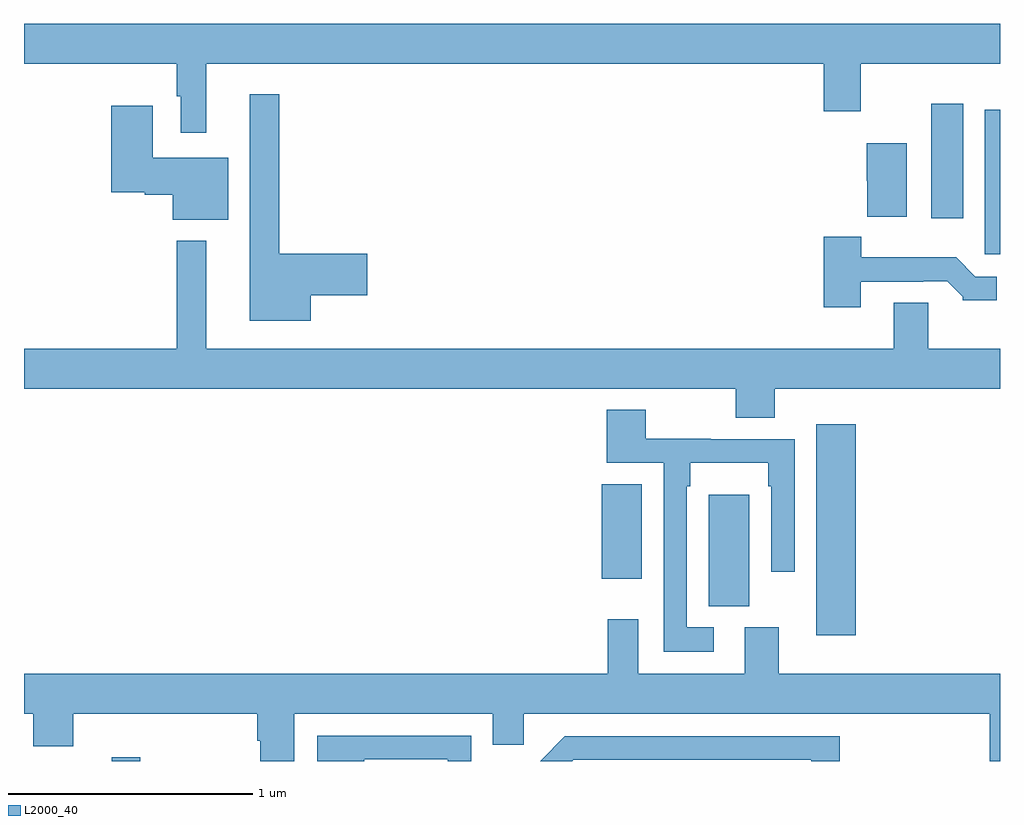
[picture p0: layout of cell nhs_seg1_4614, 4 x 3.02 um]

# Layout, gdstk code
import gdstk
lib = gdstk.Library(unit=1e-6, precision=1e-09)
def R(c, l, rs):  # rectangles x0, y0, x1, y1
    for r in rs: c.add(gdstk.rectangle(r[:2], r[2:], *l))
def P(c, l, *ps):  # polygons
    for p in ps: c.add(gdstk.Polygon(p, *l))
L2000_40 = (2000, 40)

nhs_seg1_4614 = lib.new_cell('nhs_seg1_4614')
R(nhs_seg1_4614, L2000_40, [(361.359,558.199,361.477,558.214), (364.247,558.714,364.409,559.579), (363.806,558.833,363.973,559.291), (363.368,558.947,363.532,559.333), (364.937,560.277,365,560.869), (364.718,560.424,364.849,560.893)])
P(nhs_seg1_4614, L2000_40, [(361.747,561.056),(364.277,561.056),(364.277,560.862),(364.429,560.862),(364.429,561.056),(365,561.056),(365,561.22),(361,561.22),(361,561.056),(361.626,561.056),(361.626,560.924),(361.643,560.924),(361.643,560.775),(361.747,560.775)],
  [(362.176,560.108),(362.407,560.108),(362.407,560.279),(362.047,560.279),(362.047,560.932),(361.925,560.932),(361.925,560.003),(362.176,560.003)],
  [(361.837,560.671),(361.528,560.671),(361.528,560.884),(361.358,560.884),(361.358,560.531),(361.494,560.531),(361.494,560.519),(361.61,560.519),(361.61,560.417),(361.837,560.417)],
  [(364.618,560.731),(364.454,560.731),(364.454,560.577),(364.456,560.577),(364.456,560.429),(364.618,560.429)],
  [(364.429,560.163),(364.685,560.163),(364.685,560.166),(364.784,560.166),(364.848,560.102),(364.848,560.087),(364.987,560.087),(364.987,560.184),(364.899,560.184),(364.821,560.263),(364.432,560.263),(364.432,560.347),(364.277,560.347),(364.277,560.058),(364.429,560.058)],
  [(364.076,559.724),(365,559.724),(365,559.888),(364.705,559.888),(364.705,560.078),(364.565,560.078),(364.565,559.888),(361.747,559.888),(361.747,560.332),(361.626,560.332),(361.626,559.888),(361,559.888),(361,559.724),(363.916,559.724),(363.916,559.607),(364.076,559.607)],
  [(363.826,558.748),(363.717,558.748),(363.717,559.325),(363.73,559.325),(363.73,559.421),(364.05,559.421),(364.05,559.325),(364.062,559.325),(364.062,558.975),(364.158,558.975),(364.158,559.518),(363.814,559.518),(363.814,559.52),(363.549,559.52),(363.549,559.639),(363.389,559.639),(363.389,559.422),(363.621,559.422),(363.621,558.647),(363.826,558.647)],
  [(362.107,558.392),(362.921,558.392),(362.921,558.265),(363.048,558.265),(363.048,558.392),(364.958,558.392),(364.958,558.199),(365,558.199),(365,558.556),(364.093,558.556),(364.093,558.748),(363.953,558.748),(363.953,558.556),(363.517,558.556),(363.517,558.781),(363.392,558.781),(363.392,558.556),(361,558.556),(361,558.392),(361.037,558.392),(361.037,558.259),(361.202,558.259),(361.202,558.392),(361.955,558.392),(361.955,558.283),(361.968,558.283),(361.968,558.199),(362.107,558.199)],
  [(362.395,558.207),(362.736,558.207),(362.736,558.199),(362.832,558.199),(362.832,558.303),(362.202,558.303),(362.202,558.199),(362.395,558.199)],
  [(363.252,558.204),(364.227,558.204),(364.227,558.199),(364.343,558.199),(364.343,558.3),(363.216,558.3),(363.115,558.199),(363.247,558.199)])

lib.write_gds('nhs_seg1_4614.gds')
